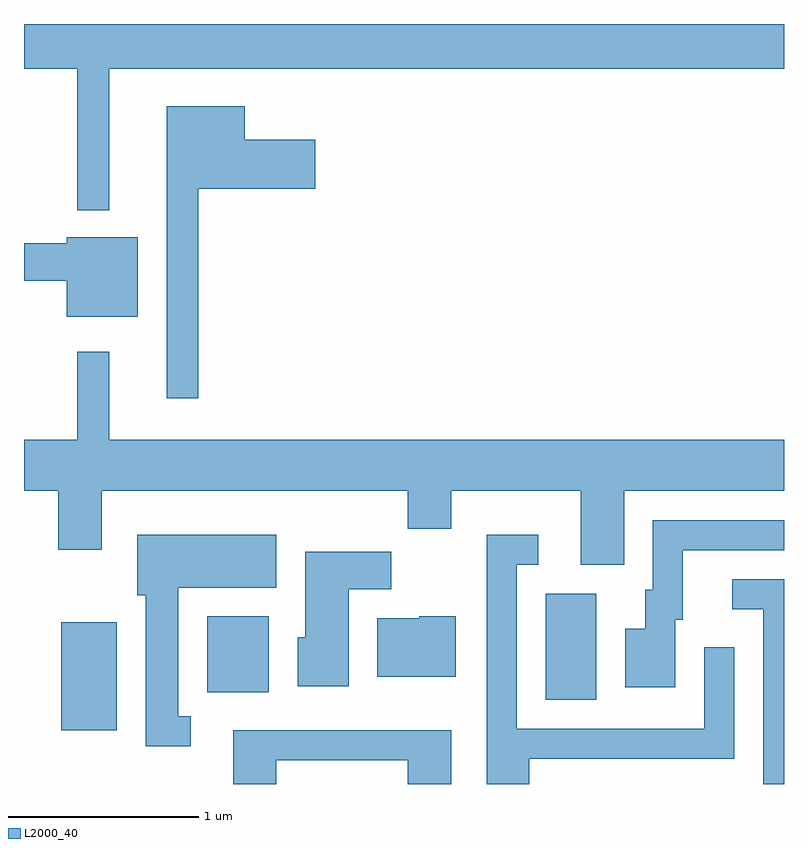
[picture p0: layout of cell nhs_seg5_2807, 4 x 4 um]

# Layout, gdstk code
import gdstk
lib = gdstk.Library(unit=1e-6, precision=1e-09)
def R(c, l, rs):  # rectangles x0, y0, x1, y1
    for r in rs: c.add(gdstk.rectangle(r[:2], r[2:], *l))
def P(c, l, *ps):  # polygons
    for p in ps: c.add(gdstk.Polygon(p, *l))
L2000_40 = (2000, 40)

nhs_seg5_2807 = lib.new_cell('nhs_seg5_2807')
R(nhs_seg5_2807, L2000_40, [(267.806,1524.356,268.099,1524.924), (270.356,1524.516,270.624,1525.074), (268.576,1524.556,268.899,1524.954)])
P(nhs_seg5_2807, L2000_40, [(268.059,1527.836),(271.611,1527.836),(271.611,1528.072),(267.611,1528.072),(267.611,1527.836),(267.891,1527.836),(267.891,1527.093),(268.059,1527.093)],
  [(268.529,1527.206),(269.144,1527.206),(269.144,1527.464),(268.774,1527.464),(268.774,1527.639),(268.361,1527.639),(268.361,1526.103),(268.529,1526.103)],
  [(268.209,1526.949),(267.836,1526.949),(267.836,1526.919),(267.611,1526.919),(267.611,1526.721),(267.836,1526.721),(267.836,1526.531),(268.209,1526.531)],
  [(270.769,1525.616),(271.611,1525.616),(271.611,1525.884),(268.059,1525.884),(268.059,1526.348),(267.891,1526.348),(267.891,1525.884),(267.611,1525.884),(267.611,1525.616),(267.791,1525.616),(267.791,1525.306),(268.019,1525.306),(268.019,1525.616),(269.631,1525.616),(269.631,1525.416),(269.859,1525.416),(269.859,1525.616),(270.541,1525.616),(270.541,1525.226),(270.769,1525.226)],
  [(271.039,1524.936),(271.079,1524.936),(271.079,1525.301),(271.611,1525.301),(271.611,1525.459),(270.921,1525.459),(270.921,1525.094),(270.881,1525.094),(270.881,1524.889),(270.776,1524.889),(270.776,1524.581),(271.039,1524.581)],
  [(270.269,1524.206),(271.349,1524.206),(271.349,1524.793),(271.191,1524.793),(271.191,1524.364),(270.204,1524.364),(270.204,1525.226),(270.318,1525.226),(270.318,1525.384),(270.046,1525.384),(270.046,1524.072),(270.269,1524.072)],
  [(268.488,1524.429),(268.424,1524.429),(268.424,1525.106),(268.939,1525.106),(268.939,1525.384),(268.206,1525.384),(268.206,1525.066),(268.251,1525.066),(268.251,1524.271),(268.488,1524.271)],
  [(269.319,1525.096),(269.544,1525.096),(269.544,1525.294),(269.091,1525.294),(269.091,1524.844),(269.051,1524.844),(269.051,1524.586),(269.319,1524.586)],
  [(271.611,1525.149),(271.338,1525.149),(271.338,1524.991),(271.501,1524.991),(271.501,1524.072),(271.611,1524.072)],
  [(269.884,1524.954),(269.69,1524.954),(269.69,1524.944),(269.471,1524.944),(269.471,1524.636),(269.884,1524.636)],
  [(268.939,1524.196),(269.631,1524.196),(269.631,1524.072),(269.859,1524.072),(269.859,1524.354),(268.711,1524.354),(268.711,1524.072),(268.939,1524.072)])

lib.write_gds('nhs_seg5_2807.gds')
